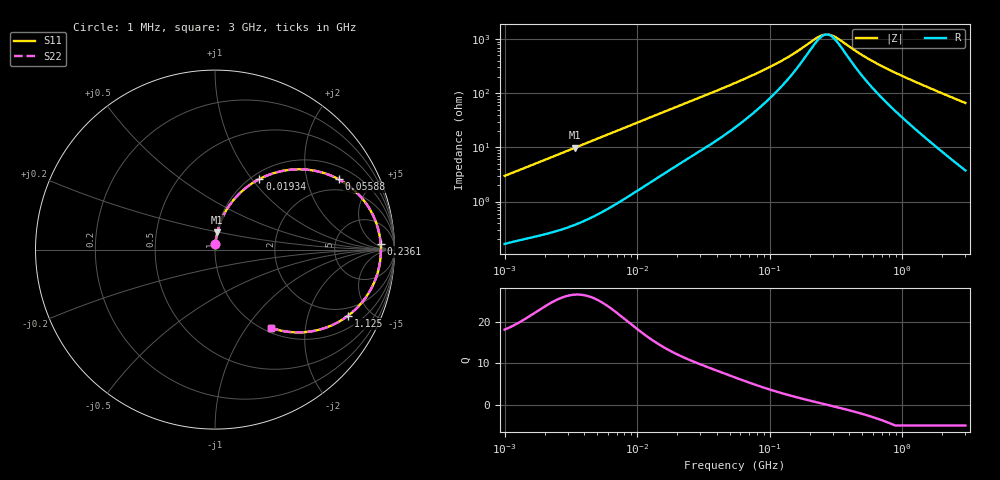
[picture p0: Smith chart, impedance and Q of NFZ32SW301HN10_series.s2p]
! NFZ32SW301HN10
# Hz S RI R 50
!Freq.(Hz) S11(Real) S11(Imag) S21(Real) S21(Imag) S12(Real) S12(Imag) S22(Real) S22(Imag)
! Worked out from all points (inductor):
!   401 points, 1 MHz to 3 GHz, reference 50 ohm
!   read as one part in series: L = 470 nH near 1.041 MHz
!   highest Q = 26.5 at 3.39 MHz (marker M1), where L = 462 nH
!   self-resonance near 269.5 MHz
!   S11 on the Smith chart (normalised r, x): 1 MHz: 1.00, +0.06; 19.34 MHz: 1.09, +1.09; 55.88 MHz: 1.48, +3.13; 236.1 MHz: 21, +9; 1.125 GHz: 1.55, -3.63; 3 GHz: 1.08, -1.32
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1000000  0.00253 0.0297  0.9975 -0.0297  0.9975 -0.0297  0.00253 0.0297
3390478  0.0132 0.0968  0.9868 -0.0968  0.9868 -0.0968  0.0132 0.0968
3823119  0.0162 0.1086  0.9838 -0.1086  0.9838 -0.1086  0.0162 0.1086
8179831  0.0621 0.2181  0.9379 -0.2181  0.9379 -0.2181  0.0621 0.2181
1.461624e7  0.164 0.3375  0.836 -0.3375  0.836 -0.3375  0.164 0.3375
1.934349e7  0.2474 0.3929  0.7526 -0.3929  0.7526 -0.3929  0.2474 0.3929
3.320783e7  0.4672 0.4474  0.5328 -0.4474  0.5328 -0.4474  0.4672 0.4474
5.477226e7  0.681 0.3961  0.319 -0.3961  0.319 -0.3961  0.681 0.3961
5.587962e7  0.6884 0.3922  0.3116 -0.3922  0.3116 -0.3922  0.6884 0.3922
8.011685e7  0.8008 0.3065  0.1992 -0.3065  0.1992 -0.3065  0.8008 0.3065
1.148668e8  0.8709 0.21  0.1291 -0.21  0.1291 -0.21  0.8709 0.21
1.520175e8  0.9021 0.1373  0.0979 -0.1373  0.0979 -0.1373  0.9021 0.1373
2.094008e8  0.9202 0.0592  0.0798 -0.0592  0.0798 -0.0592  0.9202 0.0592
2.361213e8  0.9232 0.0309  0.0768 -0.0309  0.0768 -0.0309  0.9232 0.0309
2.716345e8  0.9244 -0.00188  0.0756 0.00188  0.0756 0.00188  0.9244 -0.00188
3.062963e8  0.9235 -0.03  0.0765 0.03  0.0765 0.03  0.9235 -0.03
5.154121e8  0.8971 -0.1576  0.1029 0.1576  0.1029 0.1576  0.8971 -0.1576
8.005644e8  0.8325 -0.2771  0.1675 0.2771  0.1675 0.2771  0.8325 -0.2771
1.125055e9  0.7412 -0.3685  0.2588 0.3685  0.2588 0.3685  0.7412 -0.3685
1.855641e9  0.5358 -0.4558  0.4642 0.4558  0.4642 0.4558  0.5358 -0.4558
2.312676e9  0.4313 -0.4604  0.5687 0.4604  0.5687 0.4604  0.4313 -0.4604
3e9  0.3141 -0.4366  0.6859 0.4366  0.6859 0.4366  0.3141 -0.4366
